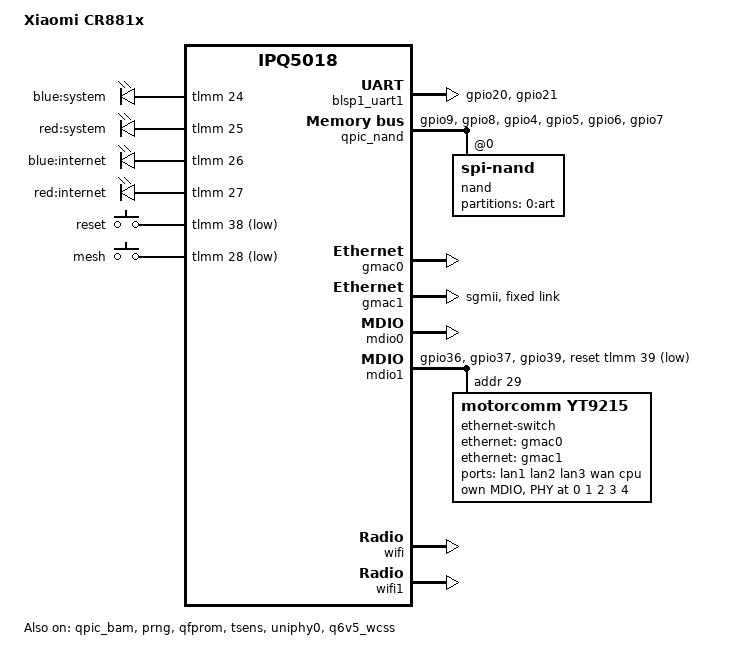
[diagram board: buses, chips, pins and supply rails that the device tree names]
// SPDX-License-Identifier: (GPL-2.0+)

/dts-v1/;

#include "ipq5018.dtsi"
#include "ipq5018-ess.dtsi"
#include "ipq5018-qcn6122.dtsi"
#include <dt-bindings/gpio/gpio.h>
#include <dt-bindings/input/input.h>

/ {
	model = "Xiaomi CR881x";
	compatible = "xiaomi,cr881x", "qcom,ipq5018";

	aliases {
		serial0 = &blsp1_uart1;
		label-mac-device = &gmac0;
		ethernet0 = &gmac0;
		ethernet1 = &gmac1;
		led-boot = &led_system_blue;
		led-failsafe = &led_system_red;
		led-running = &led_system_blue;
		led-upgrade = &led_system_red;
	};

	chosen {
		/* Override Xiaomi U-Boot's root=mtd:ubi_rootfs argument. */
		bootargs-append = " root=/dev/ubiblock0_1 coherent_pool=2M";
		stdout-path = "serial0:115200n8";
	};

	leds {
		compatible = "gpio-leds";
		pinctrl-0 = <&leds_pins>;
		pinctrl-names = "default";

		led_system_blue: led-system-blue {
			label = "blue:system";
			gpios = <&tlmm 24 GPIO_ACTIVE_HIGH>;
			default-state = "on";
		};

		led_system_red: led-system-red {
			label = "red:system";
			gpios = <&tlmm 25 GPIO_ACTIVE_HIGH>;
		};

		led-internet-blue {
			label = "blue:internet";
			gpios = <&tlmm 26 GPIO_ACTIVE_HIGH>;
		};

		led-internet-red {
			label = "red:internet";
			gpios = <&tlmm 27 GPIO_ACTIVE_HIGH>;
		};
	};

	keys {
		compatible = "gpio-keys";
		pinctrl-0 = <&button_pins>;
		pinctrl-names = "default";

		reset {
			label = "reset";
			gpios = <&tlmm 38 GPIO_ACTIVE_LOW>;
			linux,input-type = <EV_KEY>;
			linux,code = <KEY_RESTART>;
			debounce-interval = <60>;
		};

		mesh {
			label = "mesh";
			gpios = <&tlmm 28 GPIO_ACTIVE_LOW>;
			linux,input-type = <EV_KEY>;
			linux,code = <KEY_WPS_BUTTON>;
			debounce-interval = <60>;
		};
	};
};

/* CR881x has 256 MiB and its bootloader does not fix up this node. */
&{/memory@40000000} {
	reg = <0x0 0x40000000 0x0 0x10000000>;
};

/* Match the clock and console setup used by working IPQ5018 boards. */
&sleep_clk {
	clock-frequency = <32000>;
};

&xo_board_clk {
	clock-div = <4>;
	clock-mult = <1>;
};

&tlmm {
	mdio1_pins: mdio-state {
		mdc-pins {
			pins = "gpio36";
			function = "mdc";
			drive-strength = <8>;
			bias-pull-up;
		};

		mdio-pins {
			pins = "gpio37";
			function = "mdio";
			drive-strength = <8>;
			bias-pull-up;
		};
	};

	qpic_pins: qpic-state {
		clock-pins {
			pins = "gpio9";
			function = "qspi_clk";
			drive-strength = <8>;
			bias-disable;
		};

		cs-pins {
			pins = "gpio8";
			function = "qspi_cs";
			drive-strength = <8>;
			bias-disable;
		};

		data-pins {
			pins = "gpio4", "gpio5", "gpio6", "gpio7";
			function = "qspi_data";
			drive-strength = <8>;
			bias-disable;
		};
	};

	switch_reset_pins: switch-reset-state {
		pins = "gpio39";
		function = "gpio";
		drive-strength = <8>;
		bias-pull-down;
	};

	leds_pins: leds-state {
		pins = "gpio24", "gpio25", "gpio26", "gpio27";
		function = "gpio";
		drive-strength = <8>;
		bias-pull-down;
	};

	button_pins: buttons-state {
		pins = "gpio28", "gpio38";
		function = "gpio";
		drive-strength = <8>;
		bias-pull-up;
	};

	serial_0_pins: uart0-state {
		pins = "gpio20", "gpio21";
		function = "blsp0_uart0";
		drive-strength = <8>;
		bias-disable;
	};
};

&blsp1_uart1 {
	status = "okay";

	pinctrl-0 = <&serial_0_pins>;
	pinctrl-names = "default";
};

&qpic_bam {
	status = "okay";
};

&prng {
	status = "okay";
};

&qfprom {
	status = "okay";
};

&tsens {
	status = "okay";
};

&qpic_nand {
	pinctrl-0 = <&qpic_pins>;
	pinctrl-names = "default";
	status = "okay";

	nand@0 {
		compatible = "spi-nand";
		reg = <0>;

		nand-ecc-engine = <&qpic_nand>;
		nand-bus-width = <8>;

		partitions {
			compatible = "qcom,smem-part";

			partition-0-art {
				label = "0:art";
				read-only;

				nvmem-layout {
					compatible = "fixed-layout";
					#address-cells = <1>;
					#size-cells = <1>;

					mac_addr_dp1: macaddr@0 {
						compatible = "mac-base";
						#nvmem-cell-cells = <1>;
						reg = <0x0 0x6>;
					};

					mac_addr_dp2: macaddr@6 {
						compatible = "mac-base";
						#nvmem-cell-cells = <1>;
						reg = <0x6 0x6>;
					};
				};
			};
		};
	};
};

&uniphy0 {
	status = "okay";

	assigned-clocks = <&uniphy0 UNIPHY_CLK_REF>;
	assigned-clock-rates = <UNIPHY_REFCLK_50MHZ>;
};

&gmac0 {
	status = "okay";

	nvmem-cells = <&mac_addr_dp1 0>;
	nvmem-cell-names = "mac-address";
};

&gmac1 {
	status = "okay";
	phy-mode = "sgmii";

	nvmem-cells = <&mac_addr_dp2 0>;
	nvmem-cell-names = "mac-address";

	fixed-link {
		speed = <1000>;
		full-duplex;
		pause;
		asym-pause;
	};
};

&mdio0 {
	status = "okay";
};

&ge_phy {
	qcom,dac-preset-short-cable;
};

&mdio1 {
	status = "okay";

	pinctrl-0 = <&mdio1_pins>, <&switch_reset_pins>;
	pinctrl-names = "default";
	reset-gpios = <&tlmm 39 GPIO_ACTIVE_LOW>;
	reset-assert-us = <10000>;
	reset-deassert-us = <50000>;

	ethernet-switch@1d {
		compatible = "motorcomm,yt9215";
		reg = <0x1d>;

		motorcomm,rma-slow-action = <2>;
		motorcomm,ctrlpkt-lldp-act = <0x400>;
		motorcomm,ctrlpkt-lldp-eee-act = <0x400>;
		motorcomm,temp-sensor-supported;
		motorcomm,secondary-conduit-user-mask = <0x8>;

		mdio {
			#address-cells = <1>;
			#size-cells = <0>;

			sw_phy0: phy@0 { reg = <0>; };
			sw_phy1: phy@1 { reg = <1>; };
			sw_phy2: phy@2 { reg = <2>; };
			sw_phy3: phy@3 { reg = <3>; };
			sw_phy4: phy@4 { reg = <4>; };
		};

		mdio-external {
			#address-cells = <1>;
			#size-cells = <0>;
		};

		ports {
			#address-cells = <1>;
			#size-cells = <0>;

			port@0 {
				reg = <0>;
				label = "lan1";
				phy-mode = "internal";
				phy-handle = <&sw_phy0>;
			};

			port@1 {
				reg = <1>;
				label = "lan2";
				phy-mode = "internal";
				phy-handle = <&sw_phy1>;
			};

			port@2 {
				reg = <2>;
				label = "lan3";
				phy-mode = "internal";
				phy-handle = <&sw_phy2>;
			};

			port@3 {
				reg = <3>;
				label = "wan";
				phy-mode = "internal";
				phy-handle = <&sw_phy3>;
			};

			port@4 {
				reg = <4>;
				label = "cpu";
				phy-mode = "internal";
				motorcomm,conduit-role = "secondary-conduit";
				ethernet = <&gmac0>;

				fixed-link {
					speed = <1000>;
					full-duplex;
					pause;
					asym-pause;
				};
			};

			port@8 {
				reg = <8>;
				phy-mode = "sgmii";
				motorcomm,serdes-revsgmii;
				motorcomm,conduit-role = "primary-conduit";
				ethernet = <&gmac1>;

				fixed-link {
					speed = <1000>;
					full-duplex;
					pause;
					asym-pause;
				};
			};
		};
	};
};

&q6v5_wcss {
	status = "okay";

	qcom,bootargs_smem = <507>;
	boot-args = <0x2 4 2 18 0 0>;
};

&wifi {
	status = "okay";

	qcom,rproc = <&q6_wcss_pd1>;
	qcom,board_id = <0x23>;
	qcom,ath11k-fw-memory-mode = <1>;
	qcom,bdf-addr = <0x4c400000>;
};

&wifi1 {
	status = "okay";

	qcom,rproc = <&q6_wcss_pd2>;
	qcom,userpd-subsys-name = "q6v5_wcss_userpd2";
	qcom,board_id = <0x60>;
	qcom,ath11k-fw-memory-mode = <1>;
	qcom,bdf-addr = <0x4d100000>;
	qcom,m3-dump-addr = <0x4df00000>;
};
